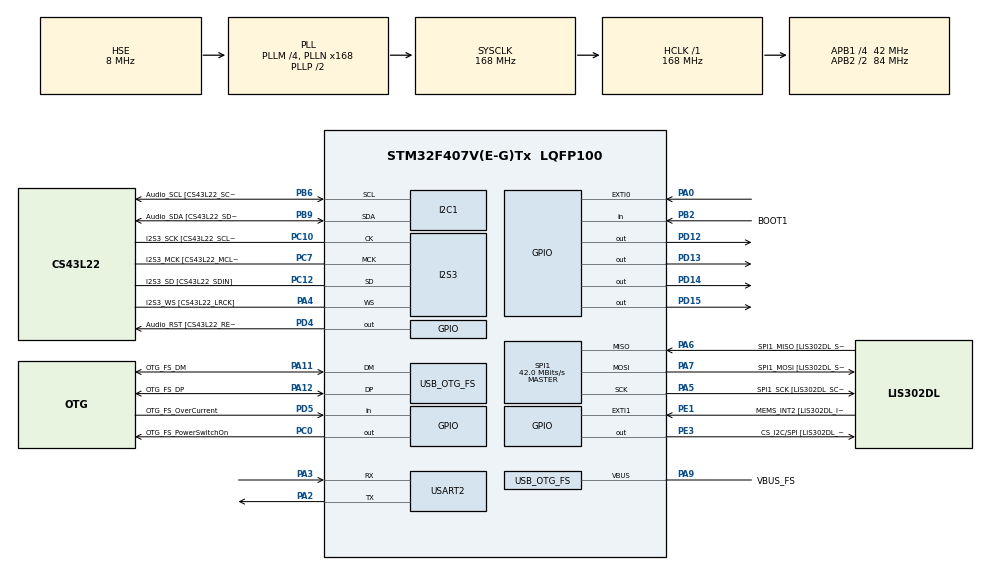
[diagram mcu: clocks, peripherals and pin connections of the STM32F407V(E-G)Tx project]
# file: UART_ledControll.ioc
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I2S3.AudioFreq-Half_Duplex_Master=I2S_AUDIOFREQ_96K
I2S3.ErrorAudioFreq=-2.34 %
I2S3.ErrorAudioFreq-Half_Duplex_Master=0.8 %
I2S3.FullDuplexMode=I2S_FULLDUPLEXMODE_DISABLE
I2S3.Instance=SPI$Index
I2S3.RealAudioFreq=93.75 KHz
I2S3.RealAudioFreq-Half_Duplex_Master=96.774 KHz
I2S3.VirtualMode=I2S_MODE_MASTER
Mcu.Family=STM32F4
Mcu.Name=STM32F407V(E-G)Tx
Mcu.Package=LQFP100
NVIC.EXTI0_IRQn=true\:0\:0\:false\:true\:true\:1\:true\:true
NVIC.OTG_FS_IRQn=true\:0\:0\:false\:false\:true\:true\:true
NVIC.PriorityGroup=NVIC_PRIORITYGROUP_0
NVIC.USART2_IRQn=true\:0\:0\:false\:true\:true\:2\:true\:true
PA0-WKUP.Signal=GPXTI0
PA10.GPIO_Label=OTG_FS_ID
PA10.GPIO_Mode=GPIO_MODE_AF_PP
PA10.GPIO_PuPd=GPIO_NOPULL
PA10.GPIO_Speed=GPIO_SPEED_FREQ_LOW
PA10.Signal=USB_OTG_FS_ID
PA11.GPIO_Label=OTG_FS_DM
PA11.GPIO_Mode=GPIO_MODE_AF_PP
PA11.GPIO_PuPd=GPIO_NOPULL
PA11.GPIO_Speed=GPIO_SPEED_FREQ_LOW
PA11.Mode=Host_Only
PA11.Signal=USB_OTG_FS_DM
PA12.GPIO_Label=OTG_FS_DP
PA12.GPIO_Mode=GPIO_MODE_AF_PP
PA12.GPIO_PuPd=GPIO_NOPULL
PA12.GPIO_Speed=GPIO_SPEED_FREQ_LOW
PA12.Mode=Host_Only
PA12.Signal=USB_OTG_FS_DP
PA13.GPIO_Label=SWDIO
PA13.Mode=Serial_Wire
PA13.Signal=SYS_JTMS-SWDIO
PA14.GPIO_Label=SWCLK
PA14.Mode=Serial_Wire
PA14.Signal=SYS_JTCK-SWCLK
PA2.Mode=Asynchronous
PA2.Signal=USART2_TX
PA3.Mode=Asynchronous
PA3.Signal=USART2_RX
PA4.GPIO_Label=I2S3_WS [CS43L22_LRCK]
PA4.GPIO_Mode=GPIO_MODE_AF_PP
PA4.GPIO_PuPd=GPIO_NOPULL
PA4.GPIO_Speed=GPIO_SPEED_FREQ_LOW
PA4.Mode=Half_Duplex_Master
PA4.Signal=I2S3_WS
PA5.GPIO_Label=SPI1_SCK [LIS302DL_SCL/SPC]
PA5.GPIO_Mode=GPIO_MODE_AF_PP
PA5.GPIO_PuPd=GPIO_NOPULL
PA5.GPIO_Speed=GPIO_SPEED_FREQ_LOW
PA5.Mode=Full_Duplex_Master
PA5.Signal=SPI1_SCK
PA6.GPIO_Label=SPI1_MISO [LIS302DL_SDO]
PA6.GPIO_Mode=GPIO_MODE_AF_PP
PA6.GPIO_PuPd=GPIO_NOPULL
PA6.GPIO_Speed=GPIO_SPEED_FREQ_LOW
PA6.Mode=Full_Duplex_Master
PA6.Signal=SPI1_MISO
PA7.GPIO_Label=SPI1_MOSI [LIS302DL_SDA/SDI/SDO]
PA7.GPIO_Mode=GPIO_MODE_AF_PP
PA7.GPIO_PuPd=GPIO_NOPULL
PA7.GPIO_Speed=GPIO_SPEED_FREQ_LOW
PA7.Mode=Full_Duplex_Master
PA7.Signal=SPI1_MOSI
PA9.GPIO_Label=VBUS_FS
PA9.GPIO_Mode=GPIO_MODE_INPUT
PA9.GPIO_PuPd=GPIO_NOPULL
PA9.Mode=Activate_VBUS
PA9.Signal=USB_OTG_FS_VBUS
PB10.GPIO_Label=CLK_IN [MP45DT02_CLK]
PB10.GPIO_Mode=GPIO_MODE_AF_PP
PB10.GPIO_PuPd=GPIO_NOPULL
PB10.GPIO_Speed=GPIO_SPEED_FREQ_LOW
PB10.Signal=I2S2_CK
PB2.GPIO_Label=BOOT1
PB2.GPIO_Mode=GPIO_MODE_INPUT
PB2.GPIO_PuPd=GPIO_NOPULL
PB2.Signal=GPIO_Input
PB3.GPIO_Label=SWO
PB3.Signal=SYS_JTDO-SWO
PB6.GPIO_Label=Audio_SCL [CS43L22_SCL]
PB6.GPIO_Mode=GPIO_MODE_AF_OD
PB6.GPIO_PuPd=GPIO_NOPULL
PB6.GPIO_Speed=GPIO_SPEED_FREQ_LOW
PB6.Mode=I2C
PB6.Signal=I2C1_SCL
PB9.GPIO_Label=Audio_SDA [CS43L22_SDA]
PB9.GPIO_Mode=GPIO_MODE_AF_OD
PB9.GPIO_PuPd=GPIO_NOPULL
PB9.GPIO_Speed=GPIO_SPEED_FREQ_LOW
PB9.Mode=I2C
PB9.Signal=I2C1_SDA
PC0.GPIO_Label=OTG_FS_PowerSwitchOn
PC0.GPIO_PuPd=GPIO_NOPULL
PC0.GPIO_Speed=GPIO_SPEED_FREQ_LOW
PC0.PinState=GPIO_PIN_SET
PC0.Signal=GPIO_Output
PC10.GPIO_Label=I2S3_SCK [CS43L22_SCLK]
PC10.GPIO_Mode=GPIO_MODE_AF_PP
PC10.GPIO_PuPd=GPIO_NOPULL
PC10.GPIO_Speed=GPIO_SPEED_FREQ_LOW
PC10.Mode=Half_Duplex_Master
PC10.Signal=I2S3_CK
PC12.GPIO_Label=I2S3_SD [CS43L22_SDIN]
PC12.GPIO_Mode=GPIO_MODE_AF_PP
PC12.GPIO_PuPd=GPIO_NOPULL
PC12.GPIO_Speed=GPIO_SPEED_FREQ_LOW
PC12.Mode=Half_Duplex_Master
PC12.Signal=I2S3_SD
PC14-OSC32_IN.GPIO_Label=PC14-OSC32_IN
PC14-OSC32_IN.Mode=LSE-External-Oscillator
PC14-OSC32_IN.Signal=RCC_OSC32_IN
PC15-OSC32_OUT.GPIO_Label=PC15-OSC32_OUT
PC15-OSC32_OUT.Mode=LSE-External-Oscillator
PC15-OSC32_OUT.Signal=RCC_OSC32_OUT
PC3.GPIO_Label=PDM_OUT [MP45DT02_DOUT]
PC3.GPIO_Mode=GPIO_MODE_AF_PP
PC3.GPIO_PuPd=GPIO_NOPULL
PC3.GPIO_Speed=GPIO_SPEED_FREQ_LOW
PC3.Signal=I2S2_SD
PC7.GPIO_Label=I2S3_MCK [CS43L22_MCLK]
PC7.GPIO_Mode=GPIO_MODE_AF_PP
PC7.GPIO_PuPd=GPIO_NOPULL
PC7.GPIO_Speed=GPIO_SPEED_FREQ_LOW
PC7.Mode=Master_Clock_Activated
PC7.Signal=I2S3_MCK
PD12.Signal=GPIO_Output
PD13.Signal=GPIO_Output
PD14.Signal=GPIO_Output
PD15.Signal=GPIO_Output
PD4.GPIO_Label=Audio_RST [CS43L22_RESET]
PD4.GPIO_PuPd=GPIO_NOPULL
PD4.GPIO_Speed=GPIO_SPEED_FREQ_LOW
PD4.Signal=GPIO_Output
PD5.GPIO_Label=OTG_FS_OverCurrent
PD5.GPIO_Mode=GPIO_MODE_INPUT
PD5.GPIO_PuPd=GPIO_NOPULL
PD5.Signal=GPIO_Input
PE1.GPIO_Label=MEMS_INT2 [LIS302DL_INT2]
PE1.GPIO_ModeDefaultEXTI=GPIO_MODE_EVT_RISING
PE1.GPIO_PuPd=GPIO_NOPULL
PE1.Signal=GPXTI1
PE3.GPIO_Label=CS_I2C/SPI [LIS302DL_CS_I2C/SPI]
PE3.GPIO_PuPd=GPIO_NOPULL
PE3.GPIO_Speed=GPIO_SPEED_FREQ_LOW
PE3.Signal=GPIO_Output
PH0-OSC_IN.GPIO_Label=PH0-OSC_IN
PH0-OSC_IN.Mode=HSE-External-Oscillator
PH0-OSC_IN.Signal=RCC_OSC_IN
PH1-OSC_OUT.GPIO_Label=PH1-OSC_OUT
PH1-OSC_OUT.Mode=HSE-External-Oscillator
PH1-OSC_OUT.Signal=RCC_OSC_OUT
ProjectManager.HeapSize=0x200
ProjectManager.StackSize=0x400
ProjectManager.TargetToolchain=MDK-ARM V5.27
RCC.48MHZClocksFreq_Value=48000000
RCC.AHBFreq_Value=168000000
RCC.APB1CLKDivider=RCC_HCLK_DIV4
RCC.APB1Freq_Value=42000000
RCC.APB1TimFreq_Value=84000000
RCC.APB2CLKDivider=RCC_HCLK_DIV2
RCC.APB2Freq_Value=84000000
RCC.APB2TimFreq_Value=168000000
RCC.CortexFreq_Value=168000000
RCC.HCLKFreq_Value=168000000
RCC.HSE_VALUE=8000000
RCC.HSI_VALUE=16000000
RCC.PLLM=4
RCC.PLLN=168
RCC.PLLQ=7
RCC.SYSCLKFreq_VALUE=168000000
RCC.SYSCLKSource=RCC_SYSCLKSOURCE_PLLCLK
RCC.VCOOutputFreq_Value=336000000
SPI1.BaudRatePrescaler=SPI_BAUDRATEPRESCALER_2
SPI1.BaudRatePrescaler-Full_Duplex_Master=SPI_BAUDRATEPRESCALER_2
SPI1.CalculateBaudRate=42.0 MBits/s
SPI1.CalculateBaudRate-Full_Duplex_Master=42.0 MBits/s
SPI1.Direction=SPI_DIRECTION_2LINES
SPI1.Mode=SPI_MODE_MASTER
SPI1.Mode-Full_Duplex_Master=SPI_MODE_MASTER
SPI1.VirtualType=VM_MASTER
USART2.VirtualMode=VM_ASYNC
USB_HOST.BSP.number=1
USB_HOST.USBH_HandleTypeDef-CDC_FS=hUsbHostFS
USB_HOST.VirtualModeFS=Cdc
USB_HOST0.BSP.STBoard=false
USB_HOST0.BSP.api=Unknown
USB_HOST0.BSP.i2caddr=0
USB_HOST0.BSP.i2creg=0
USB_HOST0.BSP.instance=PC0
USB_HOST0.BSP.ip=GPIO
USB_HOST0.BSP.mode=Output
USB_HOST0.BSP.name=Drive_VBUS_FS
USB_HOST0.BSP.solution=PC0
USB_OTG_FS.VirtualMode=Host_Only
USB_OTG_FS.phy_itface=HCD_PHY_EMBEDDED
VP_USB_HOST_VS_USB_HOST_CDC_FS.Mode=CDC_FS
board=STM32F407G-DISC1

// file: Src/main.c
/* USER CODE BEGIN Header */
/**
  ******************************************************************************
  * @file           : main.c
  * @brief          : Main program body
  ******************************************************************************
  * @attention
  *
  * <h2><center>&copy; Copyright (c) 2020 STMicroelectronics.
  * All rights reserved.</center></h2>
  *
  * This software component is licensed by ST under Ultimate Liberty license
  * SLA0044, the "License"; You may not use this file except in compliance with
  * the License. You may obtain a copy of the License at:
  *                             www.st.com/SLA0044
  *
  ******************************************************************************
  */
/* USER CODE END Header */

#include "main.h"
#include "i2c.h"
#include "i2s.h"
#include "spi.h"
#include "usart.h"
#include "usb_host.h"
#include "gpio.h"

/* USER CODE BEGIN PD */
#define ALL_LEDS	(GPIO_PIN_12 | GPIO_PIN_13 | GPIO_PIN_14 | GPIO_PIN_15)
/* USER CODE END PD */

/* USER CODE BEGIN PV */
uint8_t rx2_data;
/* USER CODE END PV */

void SystemClock_Config(void);
static void MX_NVIC_Init(void);
void MX_USB_HOST_Process(void);

/* USER CODE BEGIN PFP */
void TestUartLED(void);
/* USER CODE END PFP */

int main(void)
{

  /* MCU Configuration--------------------------------------------------------*/

  /* Reset of all peripherals, Initializes the Flash interface and the Systick. */
  HAL_Init();

  /* Configure the system clock */
  SystemClock_Config();

  /* Initialize all configured peripherals */
  MX_GPIO_Init();
  MX_I2C1_Init();
  MX_I2S3_Init();
  MX_SPI1_Init();
  MX_USB_HOST_Init();
  MX_USART2_UART_Init();

  /* Initialize interrupts */
  MX_NVIC_Init();
  /* USER CODE BEGIN 2 */
	HAL_UART_Receive_IT(&huart2, &rx2_data, 1);
  /* USER CODE END 2 */

  /* Infinite loop */
  /* USER CODE BEGIN WHILE */
  while (1)
  {
		TestUartLED();
    /* USER CODE END WHILE */
    MX_USB_HOST_Process();

  }
}

void SystemClock_Config(void)
{
  RCC_OscInitTypeDef RCC_OscInitStruct = {0};
  RCC_ClkInitTypeDef RCC_ClkInitStruct = {0};
  RCC_PeriphCLKInitTypeDef PeriphClkInitStruct = {0};

  /** Configure the main internal regulator output voltage
  */
  __HAL_RCC_PWR_CLK_ENABLE();
  __HAL_PWR_VOLTAGESCALING_CONFIG(PWR_REGULATOR_VOLTAGE_SCALE1);
  /** Initializes the CPU, AHB and APB busses clocks
  */
  RCC_OscInitStruct.OscillatorType = RCC_OSCILLATORTYPE_HSE;
  RCC_OscInitStruct.HSEState = RCC_HSE_ON;
  RCC_OscInitStruct.PLL.PLLState = RCC_PLL_ON;
  RCC_OscInitStruct.PLL.PLLSource = RCC_PLLSOURCE_HSE;
  RCC_OscInitStruct.PLL.PLLM = 4;
  RCC_OscInitStruct.PLL.PLLN = 168;
  RCC_OscInitStruct.PLL.PLLP = RCC_PLLP_DIV2;
  RCC_OscInitStruct.PLL.PLLQ = 7;
  if (HAL_RCC_OscConfig(&RCC_OscInitStruct) != HAL_OK)
  {
    Error_Handler();
  }
  /** Initializes the CPU, AHB and APB busses clocks
  */
  RCC_ClkInitStruct.ClockType = RCC_CLOCKTYPE_HCLK|RCC_CLOCKTYPE_SYSCLK
                              |RCC_CLOCKTYPE_PCLK1|RCC_CLOCKTYPE_PCLK2;
  RCC_ClkInitStruct.SYSCLKSource = RCC_SYSCLKSOURCE_PLLCLK;
  RCC_ClkInitStruct.AHBCLKDivider = RCC_SYSCLK_DIV1;
  RCC_ClkInitStruct.APB1CLKDivider = RCC_HCLK_DIV4;
  RCC_ClkInitStruct.APB2CLKDivider = RCC_HCLK_DIV2;

  if (HAL_RCC_ClockConfig(&RCC_ClkInitStruct, FLASH_LATENCY_5) != HAL_OK)
  {
    Error_Handler();
  }
  PeriphClkInitStruct.PeriphClockSelection = RCC_PERIPHCLK_I2S;
  PeriphClkInitStruct.PLLI2S.PLLI2SN = 192;
  PeriphClkInitStruct.PLLI2S.PLLI2SR = 2;
  if (HAL_RCCEx_PeriphCLKConfig(&PeriphClkInitStruct) != HAL_OK)
  {
    Error_Handler();
  }
}

/**
  * @brief NVIC Configuration.
  * @retval None
  */
static void MX_NVIC_Init(void)
{
  /* EXTI0_IRQn interrupt configuration */
  HAL_NVIC_SetPriority(EXTI0_IRQn, 0, 0);
  HAL_NVIC_EnableIRQ(EXTI0_IRQn);
  /* USART2_IRQn interrupt configuration */
  HAL_NVIC_SetPriority(USART2_IRQn, 0, 0);
  HAL_NVIC_EnableIRQ(USART2_IRQn);
}

/* USER CODE BEGIN 4 */
void HAL_UART_RxCpltCallback(UART_HandleTypeDef *huart)
{
  if(huart->Instance == USART2)
	{
		HAL_UART_Receive_IT(&huart2, &rx2_data, 1);

	}
}

void TestUartLED(void)
{
	switch (rx2_data) {
		case 'a' :
			HAL_GPIO_WritePin(GPIOD, ALL_LEDS, GPIO_PIN_RESET);
			HAL_GPIO_WritePin(GPIOD, GPIO_PIN_12, GPIO_PIN_SET);
		break;

		case 'b' :
			HAL_GPIO_WritePin(GPIOD, ALL_LEDS, GPIO_PIN_RESET);
			HAL_GPIO_WritePin(GPIOD, GPIO_PIN_13, GPIO_PIN_SET);
		break;

		case 'c' :
			HAL_GPIO_WritePin(GPIOD, ALL_LEDS, GPIO_PIN_RESET);
			HAL_GPIO_WritePin(GPIOD, GPIO_PIN_14, GPIO_PIN_SET);
		break;

		case 'd' :
			HAL_GPIO_WritePin(GPIOD, ALL_LEDS, GPIO_PIN_RESET);
			HAL_GPIO_WritePin(GPIOD, GPIO_PIN_15, GPIO_PIN_SET);
		break;

		case 'e' :
			HAL_GPIO_WritePin(GPIOD, ALL_LEDS, GPIO_PIN_SET);
		break;

		case 'f' :
			HAL_GPIO_WritePin(GPIOD, ALL_LEDS, GPIO_PIN_RESET);
		break;

		default :
		break;
	}
}
/* USER CODE END 4 */

void Error_Handler(void)
{
}

/************************ (C) COPYRIGHT STMicroelectronics *****END OF FILE****/
